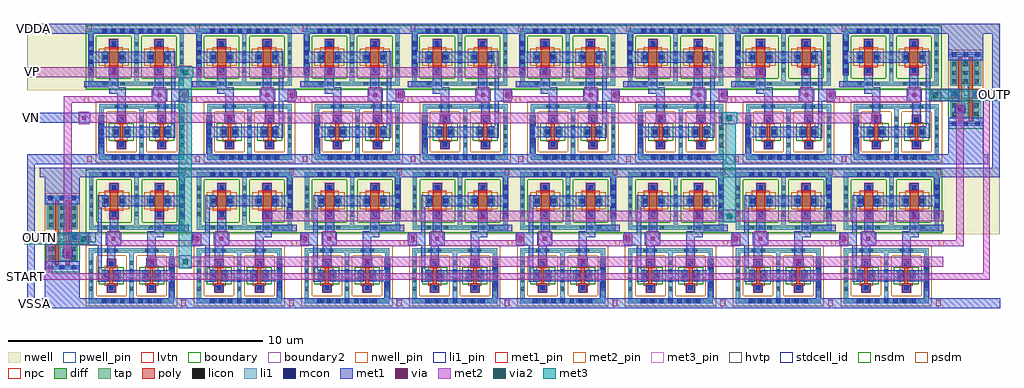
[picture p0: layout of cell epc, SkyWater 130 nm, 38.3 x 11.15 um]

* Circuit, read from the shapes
.subckt epc OUTN OUTP START VDDA VN VP VSSA
XM1 n1 START VSSA VSSA sky130_fd_pr__nfet_01v8 w=0.65 l=0.15
XM2 epc_delay_line_3/IN OUTN n1 VSSA sky130_fd_pr__nfet_01v8 w=0.65 l=0.15
XM3 n2 epc_delay_line_2/epc_delay_0/IN OUTN VSSA sky130_fd_pr__nfet_01v8_lvt w=0.42 l=0.15
XM4 n3 VP VSSA VSSA sky130_fd_pr__nfet_01v8_lvt w=0.42 l=0.15
XM5 VSSA VP n2 VSSA sky130_fd_pr__nfet_01v8_lvt w=0.42 l=0.15
XM6 epc_delay_line_3/epc_delay_6/IN epc_delay_line_3/IN n3 VSSA sky130_fd_pr__nfet_01v8_lvt w=0.42 l=0.15
XM7 n4 epc_delay_line_2/epc_delay_1/IN epc_delay_line_2/epc_delay_0/IN VSSA sky130_fd_pr__nfet_01v8_lvt w=0.42 l=0.15
XM8 n5 VN VSSA VSSA sky130_fd_pr__nfet_01v8_lvt w=0.42 l=0.15
XM9 VSSA VN n4 VSSA sky130_fd_pr__nfet_01v8_lvt w=0.42 l=0.15
XM10 epc_delay_line_3/epc_delay_5/IN epc_delay_line_3/epc_delay_6/IN n5 VSSA sky130_fd_pr__nfet_01v8_lvt w=0.42 l=0.15
XM11 n6 epc_delay_line_2/epc_delay_2/IN epc_delay_line_2/epc_delay_1/IN VSSA sky130_fd_pr__nfet_01v8_lvt w=0.42 l=0.15
XM12 n7 VP VSSA VSSA sky130_fd_pr__nfet_01v8_lvt w=0.42 l=0.15
XM13 VSSA VP n6 VSSA sky130_fd_pr__nfet_01v8_lvt w=0.42 l=0.15
XM14 epc_delay_line_3/epc_delay_4/IN epc_delay_line_3/epc_delay_5/IN n7 VSSA sky130_fd_pr__nfet_01v8_lvt w=0.42 l=0.15
XM15 n8 epc_delay_line_2/epc_delay_3/IN epc_delay_line_2/epc_delay_2/IN VSSA sky130_fd_pr__nfet_01v8_lvt w=0.42 l=0.15
XM16 n9 VN VSSA VSSA sky130_fd_pr__nfet_01v8_lvt w=0.42 l=0.15
XM17 VSSA VN n8 VSSA sky130_fd_pr__nfet_01v8_lvt w=0.42 l=0.15
XM18 epc_delay_line_3/epc_delay_3/IN epc_delay_line_3/epc_delay_4/IN n9 VSSA sky130_fd_pr__nfet_01v8_lvt w=0.42 l=0.15
XM19 n10 epc_delay_line_2/epc_delay_4/IN epc_delay_line_2/epc_delay_3/IN VSSA sky130_fd_pr__nfet_01v8_lvt w=0.42 l=0.15
XM20 n11 VP VSSA VSSA sky130_fd_pr__nfet_01v8_lvt w=0.42 l=0.15
XM21 VSSA VP n10 VSSA sky130_fd_pr__nfet_01v8_lvt w=0.42 l=0.15
XM22 epc_delay_line_3/epc_delay_2/IN epc_delay_line_3/epc_delay_3/IN n11 VSSA sky130_fd_pr__nfet_01v8_lvt w=0.42 l=0.15
XM23 n12 epc_delay_line_2/epc_delay_5/IN epc_delay_line_2/epc_delay_4/IN VSSA sky130_fd_pr__nfet_01v8_lvt w=0.42 l=0.15
XM24 n13 VN VSSA VSSA sky130_fd_pr__nfet_01v8_lvt w=0.42 l=0.15
XM25 VSSA VN n12 VSSA sky130_fd_pr__nfet_01v8_lvt w=0.42 l=0.15
XM26 epc_delay_line_3/epc_delay_1/IN epc_delay_line_3/epc_delay_2/IN n13 VSSA sky130_fd_pr__nfet_01v8_lvt w=0.42 l=0.15
XM27 n14 epc_delay_line_2/epc_delay_6/IN epc_delay_line_2/epc_delay_5/IN VSSA sky130_fd_pr__nfet_01v8_lvt w=0.42 l=0.15
XM28 n15 VP VSSA VSSA sky130_fd_pr__nfet_01v8_lvt w=0.42 l=0.15
XM29 VSSA VP n14 VSSA sky130_fd_pr__nfet_01v8_lvt w=0.42 l=0.15
XM30 epc_delay_line_3/epc_delay_0/IN epc_delay_line_3/epc_delay_1/IN n15 VSSA sky130_fd_pr__nfet_01v8_lvt w=0.42 l=0.15
XM31 n16 epc_delay_line_2/IN epc_delay_line_2/epc_delay_6/IN VSSA sky130_fd_pr__nfet_01v8_lvt w=0.42 l=0.15
XM32 n17 VN VSSA VSSA sky130_fd_pr__nfet_01v8_lvt w=0.42 l=0.15
XM33 VSSA VN n16 VSSA sky130_fd_pr__nfet_01v8_lvt w=0.42 l=0.15
XM34 OUTP epc_delay_line_3/epc_delay_0/IN n17 VSSA sky130_fd_pr__nfet_01v8_lvt w=0.42 l=0.15
XM35 n18 OUTP epc_delay_line_2/IN VSSA sky130_fd_pr__nfet_01v8 w=0.65 l=0.15
XM36 VSSA START n18 VSSA sky130_fd_pr__nfet_01v8 w=0.65 l=0.15
XM37 epc_delay_line_3/IN START VDDA VDDA sky130_fd_pr__pfet_01v8_hvt w=1 l=0.15
XM38 VDDA OUTN epc_delay_line_3/IN VDDA sky130_fd_pr__pfet_01v8_hvt w=1 l=0.15
XM39 n19 VP VDDA VDDA sky130_fd_pr__pfet_01v8_lvt w=0.42 l=0.35
XM40 n20 epc_delay_line_2/epc_delay_0/IN OUTN VDDA sky130_fd_pr__pfet_01v8_lvt w=0.42 l=0.35
XM41 epc_delay_line_3/epc_delay_6/IN epc_delay_line_3/IN n19 VDDA sky130_fd_pr__pfet_01v8_lvt w=0.42 l=0.35
XM42 VDDA VP n20 VDDA sky130_fd_pr__pfet_01v8_lvt w=0.42 l=0.35
XM43 n21 VN VDDA VDDA sky130_fd_pr__pfet_01v8_lvt w=0.42 l=0.35
XM44 n22 epc_delay_line_2/epc_delay_1/IN epc_delay_line_2/epc_delay_0/IN VDDA sky130_fd_pr__pfet_01v8_lvt w=0.42 l=0.35
XM45 epc_delay_line_3/epc_delay_5/IN epc_delay_line_3/epc_delay_6/IN n21 VDDA sky130_fd_pr__pfet_01v8_lvt w=0.42 l=0.35
XM46 VDDA VN n22 VDDA sky130_fd_pr__pfet_01v8_lvt w=0.42 l=0.35
XM47 n23 VP VDDA VDDA sky130_fd_pr__pfet_01v8_lvt w=0.42 l=0.35
XM48 n24 epc_delay_line_2/epc_delay_2/IN epc_delay_line_2/epc_delay_1/IN VDDA sky130_fd_pr__pfet_01v8_lvt w=0.42 l=0.35
XM49 epc_delay_line_3/epc_delay_4/IN epc_delay_line_3/epc_delay_5/IN n23 VDDA sky130_fd_pr__pfet_01v8_lvt w=0.42 l=0.35
XM50 VDDA VP n24 VDDA sky130_fd_pr__pfet_01v8_lvt w=0.42 l=0.35
XM51 n25 VN VDDA VDDA sky130_fd_pr__pfet_01v8_lvt w=0.42 l=0.35
XM52 n26 epc_delay_line_2/epc_delay_3/IN epc_delay_line_2/epc_delay_2/IN VDDA sky130_fd_pr__pfet_01v8_lvt w=0.42 l=0.35
XM53 epc_delay_line_3/epc_delay_3/IN epc_delay_line_3/epc_delay_4/IN n25 VDDA sky130_fd_pr__pfet_01v8_lvt w=0.42 l=0.35
XM54 VDDA VN n26 VDDA sky130_fd_pr__pfet_01v8_lvt w=0.42 l=0.35
XM55 n27 VP VDDA VDDA sky130_fd_pr__pfet_01v8_lvt w=0.42 l=0.35
XM56 n28 epc_delay_line_2/epc_delay_4/IN epc_delay_line_2/epc_delay_3/IN VDDA sky130_fd_pr__pfet_01v8_lvt w=0.42 l=0.35
XM57 epc_delay_line_3/epc_delay_2/IN epc_delay_line_3/epc_delay_3/IN n27 VDDA sky130_fd_pr__pfet_01v8_lvt w=0.42 l=0.35
XM58 VDDA VP n28 VDDA sky130_fd_pr__pfet_01v8_lvt w=0.42 l=0.35
XM59 n29 VN VDDA VDDA sky130_fd_pr__pfet_01v8_lvt w=0.42 l=0.35
XM60 n30 epc_delay_line_2/epc_delay_5/IN epc_delay_line_2/epc_delay_4/IN VDDA sky130_fd_pr__pfet_01v8_lvt w=0.42 l=0.35
XM61 epc_delay_line_3/epc_delay_1/IN epc_delay_line_3/epc_delay_2/IN n29 VDDA sky130_fd_pr__pfet_01v8_lvt w=0.42 l=0.35
XM62 VDDA VN n30 VDDA sky130_fd_pr__pfet_01v8_lvt w=0.42 l=0.35
XM63 n31 VP VDDA VDDA sky130_fd_pr__pfet_01v8_lvt w=0.42 l=0.35
XM64 n32 epc_delay_line_2/epc_delay_6/IN epc_delay_line_2/epc_delay_5/IN VDDA sky130_fd_pr__pfet_01v8_lvt w=0.42 l=0.35
XM65 epc_delay_line_3/epc_delay_0/IN epc_delay_line_3/epc_delay_1/IN n31 VDDA sky130_fd_pr__pfet_01v8_lvt w=0.42 l=0.35
XM66 VDDA VP n32 VDDA sky130_fd_pr__pfet_01v8_lvt w=0.42 l=0.35
XM67 n33 VN VDDA VDDA sky130_fd_pr__pfet_01v8_lvt w=0.42 l=0.35
XM68 n34 epc_delay_line_2/IN epc_delay_line_2/epc_delay_6/IN VDDA sky130_fd_pr__pfet_01v8_lvt w=0.42 l=0.35
XM69 OUTP epc_delay_line_3/epc_delay_0/IN n33 VDDA sky130_fd_pr__pfet_01v8_lvt w=0.42 l=0.35
XM70 VDDA VN n34 VDDA sky130_fd_pr__pfet_01v8_lvt w=0.42 l=0.35
XM71 epc_delay_line_2/IN OUTP VDDA VDDA sky130_fd_pr__pfet_01v8_hvt w=1 l=0.15
XM72 VDDA START epc_delay_line_2/IN VDDA sky130_fd_pr__pfet_01v8_hvt w=1 l=0.15
.ends

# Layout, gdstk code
from math import pi, radians
import gdstk
lib = gdstk.Library(unit=1e-6, precision=1e-09)
def R(c, l, rs):  # rectangles x0, y0, x1, y1
    for r in rs: c.add(gdstk.rectangle(r[:2], r[2:], *l))
def A(c, l, x, y, w, h, nx, ny, dx, dy):  # array of equal rectangles
    R(c, l, [(x+i*dx, y+j*dy, x+i*dx+w, y+j*dy+h) for i in range(nx) for j in range(ny)])
def P(c, l, *ps):  # polygons
    for p in ps: c.add(gdstk.Polygon(p, *l))
nwell_pin = (64, 16)
nwell = (64, 20)
diff = (65, 20)
tap = (65, 44)
poly = (66, 20)
licon = (66, 44)
li1_pin = (67, 16)
li1 = (67, 20)
mcon = (67, 44)
met1_pin = (68, 16)
met1 = (68, 20)
via = (68, 44)
met2_pin = (69, 16)
met2 = (69, 20)
via2 = (69, 44)
met3_pin = (70, 16)
met3 = (70, 20)
hvtp = (78, 44)
stdcell_id = (81, 4)
nsdm = (93, 44)
psdm = (94, 20)
npc = (95, 20)
pwell_pin = (122, 16)
lvtn = (125, 44)
boundary = (235, 4)
boundary2 = (236, 0)

sky130_fd_sc_hd__nand2_1 = lib.new_cell('sky130_fd_sc_hd__nand2_1')
R(sky130_fd_sc_hd__nand2_1, nwell_pin, [(0.14,2.635,0.31,2.805)])
R(sky130_fd_sc_hd__nand2_1, nwell, [(-0.19,1.305,1.57,2.91)])
R(sky130_fd_sc_hd__nand2_1, diff, [(0.155,0.235,1.245,0.885), (0.155,1.485,1.245,2.485)])
P(sky130_fd_sc_hd__nand2_1, poly, [(1.275,1.325),(0.985,1.325),(0.985,2.615),(0.835,2.615),(0.835,0.105),(0.985,0.105),(0.985,0.995),(1.275,0.995)],
  [(0.565,2.615),(0.415,2.615),(0.415,1.325),(0.105,1.325),(0.105,0.995),(0.415,0.995),(0.415,0.105),(0.565,0.105)])
A(sky130_fd_sc_hd__nand2_1, licon, 0.195, 1.575, 0.17, 0.17, 3, 3, 0.42, 0.34)
R(sky130_fd_sc_hd__nand2_1, licon, [(0.195,0.295,0.365,0.465), (1.035,0.295,1.205,0.465), (0.195,0.635,0.365,0.805), (1.035,0.635,1.205,0.805), (0.18,1.075,0.35,1.245), (1.02,1.075,1.19,1.245)])
A(sky130_fd_sc_hd__nand2_1, li1_pin, 0.14, 1.105, 0.17, 0.17, 3, 1, 0.46, 0)
R(sky130_fd_sc_hd__nand2_1, li1_pin, [(0.6,0.425,0.77,0.595), (0.6,0.765,0.77,0.935)])
R(sky130_fd_sc_hd__nand2_1, li1, [(0.095,1.055,0.43,1.325), (0.94,1.075,1.275,1.325)])
P(sky130_fd_sc_hd__nand2_1, li1, [(1.38,0.085),(0.395,0.085),(0.395,0.885),(0.085,0.885),(0.085,0.085),(0,0.085),(0,-0.085),(1.38,-0.085)],
  [(1.38,2.805),(0,2.805),(0,2.635),(0.085,2.635),(0.085,1.495),(0.365,1.495),(0.365,2.635),(1.035,2.635),(1.035,1.495),(1.295,1.495),(1.295,2.635),(1.38,2.635)],
  [(1.295,0.885),(0.77,0.885),(0.77,1.485),(0.865,1.485),(0.865,2.465),(0.535,2.465),(0.535,1.485),(0.6,1.485),(0.6,0.255),(1.295,0.255)])
A(sky130_fd_sc_hd__nand2_1, mcon, 0.145, -0.085, 0.17, 0.17, 3, 2, 0.46, 2.72)
R(sky130_fd_sc_hd__nand2_1, met1_pin, [(0.14,-0.085,0.31,0.085), (0.14,2.635,0.31,2.805)])
R(sky130_fd_sc_hd__nand2_1, hvtp, [(0,1.25,1.38,2.72)])
R(sky130_fd_sc_hd__nand2_1, stdcell_id, [(0,0,1.38,2.72)])
R(sky130_fd_sc_hd__nand2_1, nsdm, [(0,-0.19,1.38,1.015)])
R(sky130_fd_sc_hd__nand2_1, psdm, [(0,1.355,1.38,2.91)])
R(sky130_fd_sc_hd__nand2_1, npc, [(0,0.975,1.38,1.345)])
R(sky130_fd_sc_hd__nand2_1, pwell_pin, [(0.14,-0.085,0.31,0.085)])
R(sky130_fd_sc_hd__nand2_1, boundary2, [(0,0,1.38,2.72)])
sky130_fd_sc_hd__nand2_1.add(gdstk.FlexPath([(0,2.72),(1.38,2.72)], 0.48, ends="flush", simple_path=True, layer=68, datatype=20))  # met1
sky130_fd_sc_hd__nand2_1.add(gdstk.FlexPath([(0,0),(1.38,0)], 0.48, ends="flush", simple_path=True, layer=68, datatype=20))  # met1
sky130_fd_sc_hd__nand2_1.add(gdstk.Label('Y', (0.685,0.51), layer=67, texttype=5))
sky130_fd_sc_hd__nand2_1.add(gdstk.Label('Y', (0.685,0.85), layer=67, texttype=5))
sky130_fd_sc_hd__nand2_1.add(gdstk.Label('Y', (0.685,1.19), layer=67, texttype=5))
sky130_fd_sc_hd__nand2_1.add(gdstk.Label('B', (0.225,1.19), layer=67, texttype=5))
sky130_fd_sc_hd__nand2_1.add(gdstk.Label('A', (1.145,1.19), layer=67, texttype=5))
sky130_fd_sc_hd__nand2_1.add(gdstk.Label('VPB', (0.225,2.72), layer=64, texttype=5))
sky130_fd_sc_hd__nand2_1.add(gdstk.Label('VNB', (0.225,0), layer=64, texttype=59))
sky130_fd_sc_hd__nand2_1.add(gdstk.Label('VGND', (0.23,0), layer=68, texttype=5))
sky130_fd_sc_hd__nand2_1.add(gdstk.Label('VPWR', (0.225,2.72), layer=68, texttype=5))
sky130_fd_sc_hd__nand2_1.add(gdstk.Label('nand2_1', (0,0), layer=83, texttype=44))

sky130_fd_pr__nfet_01v8_ = lib.new_cell('sky130_fd_pr__nfet_01v8_lvt_BK97Z7')
R(sky130_fd_pr__nfet_01v8_, diff, [(-0.365,-0.21,0.365,0.21)])
R(sky130_fd_pr__nfet_01v8_, tap, [(-0.875,-1.08,0.875,-0.91), (-0.875,-0.91,-0.705,0.91), (0.705,-0.91,0.875,0.91), (-0.875,0.91,0.875,1.08)])
R(sky130_fd_pr__nfet_01v8_, poly, [(-0.165,-0.65,0.165,-0.32), (-0.075,-0.32,0.075,0.32), (-0.165,0.32,0.165,0.65)])
A(sky130_fd_pr__nfet_01v8_, licon, -0.875, -0.595, 0.17, 0.17, 1, 4, 0, 0.34)
A(sky130_fd_pr__nfet_01v8_, licon, 0.705, -0.595, 0.17, 0.17, 1, 4, 0, 0.34)
R(sky130_fd_pr__nfet_01v8_, licon, [(-0.255,-1.08,-0.085,-0.91), (0.085,-1.08,0.255,-0.91), (-0.085,-0.57,0.085,-0.4), (-0.305,-0.085,-0.135,0.085), (0.135,-0.085,0.305,0.085), (-0.085,0.4,0.085,0.57), (-0.255,0.91,-0.085,1.08), (0.085,0.91,0.255,1.08)])
R(sky130_fd_pr__nfet_01v8_, li1, [(-0.875,-1.08,0.875,-0.91), (-0.875,-0.91,-0.705,0.91), (0.705,-0.91,0.875,0.91), (-0.165,-0.57,0.165,-0.4), (-0.305,-0.23,-0.135,0.23), (0.135,-0.23,0.305,0.23), (-0.165,0.4,0.165,0.57), (-0.875,0.91,0.875,1.08)])
R(sky130_fd_pr__nfet_01v8_, mcon, [(-0.085,-0.57,0.085,-0.4), (-0.305,-0.085,-0.135,0.085), (0.135,-0.085,0.305,0.085), (-0.085,0.4,0.085,0.57)])
R(sky130_fd_pr__nfet_01v8_, met1, [(-0.145,-0.6,0.145,-0.37), (-0.335,-0.21,-0.105,0.21), (0.105,-0.21,0.335,0.21), (-0.145,0.37,0.145,0.6)])
R(sky130_fd_pr__nfet_01v8_, nsdm, [(-0.49,-0.335,0.49,0.335)])
R(sky130_fd_pr__nfet_01v8_, psdm, [(-1,-1.205,1,-0.785), (-1,-0.785,-0.58,0.785), (0.58,-0.785,1,0.785), (-1,0.785,1,1.205)])
R(sky130_fd_pr__nfet_01v8_, npc, [(-0.185,-0.67,0.185,-0.3), (-0.185,0.3,0.185,0.67)])
R(sky130_fd_pr__nfet_01v8_, lvtn, [(-0.255,-0.39,0.255,0.39)])
R(sky130_fd_pr__nfet_01v8_, boundary, [(-0.79,-0.995,0.79,0.995)])

sky130_fd_pr__pfet_01v8_ = lib.new_cell('sky130_fd_pr__pfet_01v8_lvt_A33RKA')
R(sky130_fd_pr__pfet_01v8_, nwell, [(-1.155,-1.305,1.155,1.305)])
R(sky130_fd_pr__pfet_01v8_, diff, [(-0.465,-0.21,0.465,0.21)])
R(sky130_fd_pr__pfet_01v8_, tap, [(-0.975,-1.125,0.975,-0.955), (-0.975,-0.955,-0.805,0.955), (0.805,-0.955,0.975,0.955), (-0.975,0.955,0.975,1.125)])
R(sky130_fd_pr__pfet_01v8_, poly, [(-0.175,-0.695,0.175,0.695)])
A(sky130_fd_pr__pfet_01v8_, licon, -0.425, -1.125, 0.17, 0.17, 3, 2, 0.34, 2.08)
A(sky130_fd_pr__pfet_01v8_, licon, -0.975, -0.595, 0.17, 0.17, 1, 4, 0, 0.34)
A(sky130_fd_pr__pfet_01v8_, licon, 0.805, -0.595, 0.17, 0.17, 1, 4, 0, 0.34)
R(sky130_fd_pr__pfet_01v8_, licon, [(-0.085,-0.615,0.085,-0.445), (-0.405,-0.085,-0.235,0.085), (0.235,-0.085,0.405,0.085), (-0.085,0.445,0.085,0.615)])
R(sky130_fd_pr__pfet_01v8_, li1, [(-0.975,-1.125,0.975,-0.955), (-0.975,-0.955,-0.805,0.955), (0.805,-0.955,0.975,0.955), (-0.175,-0.615,0.175,-0.445), (-0.405,-0.23,-0.235,0.23), (0.235,-0.23,0.405,0.23), (-0.175,0.445,0.175,0.615), (-0.975,0.955,0.975,1.125)])
R(sky130_fd_pr__pfet_01v8_, mcon, [(-0.085,-0.615,0.085,-0.445), (-0.405,-0.085,-0.235,0.085), (0.235,-0.085,0.405,0.085), (-0.085,0.445,0.085,0.615)])
R(sky130_fd_pr__pfet_01v8_, met1, [(-0.155,-0.645,0.155,-0.415), (-0.435,-0.21,-0.205,0.21), (0.205,-0.21,0.435,0.21), (-0.155,0.415,0.155,0.645)])
R(sky130_fd_pr__pfet_01v8_, nsdm, [(-1.1,-1.25,1.1,-0.83), (-1.1,-0.83,-0.68,0.83), (0.68,-0.83,1.1,0.83), (-1.1,0.83,1.1,1.25)])
R(sky130_fd_pr__pfet_01v8_, psdm, [(-0.59,-0.335,0.59,0.335)])
R(sky130_fd_pr__pfet_01v8_, npc, [(-0.185,-0.715,0.185,-0.345), (-0.185,0.345,0.185,0.715)])
R(sky130_fd_pr__pfet_01v8_, lvtn, [(-0.355,-0.39,0.355,0.39)])
R(sky130_fd_pr__pfet_01v8_, boundary, [(-0.89,-1.04,0.89,1.04)])

epc_delay = lib.new_cell('epc_delay')
R(epc_delay, li1, [(0.8,-2.68,3.17,-2.51), (0.32,-2.2,0.49,-1), (0.89,-1.75,1.06,-1.45), (1.33,-1.75,1.5,-1.45), (2.47,-1.75,2.64,-1.45), (2.91,-1.75,3.08,-1.45), (-0.085,0.69,0.085,1.98), (0.485,1.185,0.655,1.485), (1.125,1.185,1.295,1.485), (2.265,1.185,2.435,1.485), (2.905,1.185,3.075,1.485), (0.395,2.29,3.165,2.46)])
A(epc_delay, mcon, 0.82, -2.68, 0.17, 0.17, 7, 1, 0.36, 0)
A(epc_delay, mcon, 0.32, -2.045, 0.17, 0.17, 1, 3, 0, 0.36)
A(epc_delay, mcon, -0.085, 0.71, 0.17, 0.17, 1, 4, 0, 0.36)
A(epc_delay, mcon, 0.435, 2.29, 0.17, 0.17, 8, 1, 0.36, 0)
R(epc_delay, mcon, [(0.89,-1.685,1.06,-1.515), (1.33,-1.685,1.5,-1.515), (2.47,-1.685,2.64,-1.515), (2.91,-1.685,3.08,-1.515), (0.485,1.25,0.655,1.42), (1.125,1.25,1.295,1.42), (2.265,1.25,2.435,1.42), (2.905,1.25,3.075,1.42)])
R(epc_delay, met1_pin, [(-0.155,-2.795,0.025,-2.545), (3.585,-0.28,3.765,-0.03), (-0.265,0.15,-0.085,0.4), (-0.155,2.34,0.025,2.59)])
R(epc_delay, met1, [(-0.26,-2.86,3.83,-2.48), (0.29,-2.48,0.52,-1.81), (1.03,-2.25,1.36,-1.97), (2.61,-2.25,2.94,-1.97), (2.91,-1.83,3.31,-1.81), (0.29,-1.81,1.09,-1.39), (1.3,-1.81,2.67,-1.39), (2.88,-1.81,3.31,-1.39), (0.29,-1.39,0.52,-0.94), (2.91,-1.39,3.31,-1.37), (3.14,-1.37,3.31,-0.4), (1.03,-1.23,1.36,-0.1), (2.61,-1.23,2.94,-0.4), (2.385,-0.4,2.985,0.1), (3.14,-0.4,3.805,0.1), (0.715,-0.1,1.36,0.15), (2.495,0.1,2.845,0.92), (3.14,0.1,3.31,1.105), (-0.265,0.15,1.065,0.4), (0.715,0.4,1.065,0.92), (-0.115,0.63,0.115,1.125), (2.905,1.105,3.31,1.125), (-0.115,1.125,0.685,1.545), (1.095,1.125,2.465,1.545), (2.875,1.125,3.31,1.545), (-0.115,1.545,0.115,2.26), (2.905,1.545,3.31,1.565), (0.715,1.75,1.065,2.03), (2.495,1.75,2.845,2.03), (-0.265,2.26,3.825,2.64)])
R(epc_delay, via, [(2.61,-0.225,2.76,-0.075)])
R(epc_delay, met2_pin, [(-0.265,-0.45,-0.085,-0.2)])
R(epc_delay, met2, [(-0.265,-0.45,2.935,-0.2), (2.435,-0.2,2.935,0.15)])
epc_delay.add(gdstk.Reference(sky130_fd_pr__nfet_01v8_, (1.195,-1.6)))
epc_delay.add(gdstk.Reference(sky130_fd_pr__nfet_01v8_, (2.775,-1.6)))
epc_delay.add(gdstk.Reference(sky130_fd_pr__pfet_01v8_, (2.67,1.335)))
epc_delay.add(gdstk.Reference(sky130_fd_pr__pfet_01v8_, (0.89,1.335)))
epc_delay.add(gdstk.Label('VDD', (-0.065,2.465), layer=68, texttype=5))
epc_delay.add(gdstk.Label('VSS', (-0.065,-2.67), layer=68, texttype=5))
epc_delay.add(gdstk.Label('VIN', (-0.175,0.275), layer=68, texttype=5))
epc_delay.add(gdstk.Label('IN', (-0.175,-0.325), layer=69, texttype=5))
epc_delay.add(gdstk.Label('OUT', (3.675,-0.155), layer=68, texttype=5))

epc_delay_line = lib.new_cell('epc_delay_line')
R(epc_delay_line, nwell, [(0.265,3.95,33.97,6.56)])
R(epc_delay_line, met1_pin, [(0.42,1.22,0.46,1.24), (33.75,3.78,33.79,3.8), (0.43,6.37,0.47,6.39)])
A(epc_delay_line, met1, 5.76, 2.72, 0.4, 0.3, 4, 1, 8.46, 0)
A(epc_delay_line, met1, 20.885, 3.62, 0.4, 0.3, 3, 1, 4.23, 0)
A(epc_delay_line, met1, 9.685, 4.51, 0.4, 0.3, 3, 1, 8.46, 0)
R(epc_delay_line, met1, [(0.27,1.06,33.975,1.44), (33.455,3.52,33.95,4.02), (8.195,3.615,8.595,3.915), (3.96,3.62,4.36,3.92), (12.43,3.62,12.83,3.92), (16.66,3.62,17.06,3.92), (1.22,4.51,1.62,4.81), (0.265,6.18,33.97,6.56)])
A(epc_delay_line, via, 5.885, 2.795, 0.15, 0.15, 4, 1, 8.46, 0)
A(epc_delay_line, via, 21.01, 3.695, 0.15, 0.15, 3, 1, 4.23, 0)
A(epc_delay_line, via, 9.81, 4.585, 0.15, 0.15, 3, 1, 8.46, 0)
R(epc_delay_line, via, [(8.32,3.69,8.47,3.84), (4.085,3.695,4.235,3.845), (12.555,3.695,12.705,3.845), (16.785,3.695,16.935,3.845), (1.345,4.585,1.495,4.735)])
R(epc_delay_line, met2_pin, [(0.4,2.86,0.44,2.88), (0.38,3.58,0.42,3.6), (0.43,4.64,0.47,4.66)])
A(epc_delay_line, met2, 20.935, 3.47, 0.78, 0.25, 3, 1, 4.23, 0)
A(epc_delay_line, met2, 20.935, 3.72, 0.3, 0.25, 3, 1, 4.23, 0)
R(epc_delay_line, met2, [(5.81,2.67,31.49,2.675), (0.27,2.675,31.49,3.07), (0.265,3.47,0.555,3.72), (4.01,3.47,4.82,3.72), (8.245,3.47,9.01,3.72), (12.48,3.47,13.26,3.72), (16.71,3.47,17.49,3.72), (4.01,3.72,4.31,3.97), (8.245,3.72,8.545,3.965), (12.48,3.72,12.78,3.97), (16.71,3.72,17.01,3.97), (0.265,4.46,26.955,4.86)])
A(epc_delay_line, nsdm, 8.535, 4.005, 0.25, 2.5, 6, 1, 4.23, 0)
R(epc_delay_line, nsdm, [(4.3,4.005,4.555,6.505)])
epc_delay_line.add(gdstk.Reference(epc_delay, (30.145,3.92)))
epc_delay_line.add(gdstk.Reference(epc_delay, (25.915,3.92)))
epc_delay_line.add(gdstk.Reference(epc_delay, (21.685,3.92)))
epc_delay_line.add(gdstk.Reference(epc_delay, (17.455,3.92)))
epc_delay_line.add(gdstk.Reference(epc_delay, (13.225,3.92)))
epc_delay_line.add(gdstk.Reference(epc_delay, (8.995,3.92)))
epc_delay_line.add(gdstk.Reference(epc_delay, (4.765,3.92)))
epc_delay_line.add(gdstk.Reference(epc_delay, (0.53,3.92)))
epc_delay_line.add(gdstk.Label('VDD', (0.45,6.38), layer=68, texttype=5))
epc_delay_line.add(gdstk.Label('VP', (0.45,4.65), layer=69, texttype=5))
epc_delay_line.add(gdstk.Label('IN', (0.4,3.59), layer=69, texttype=5))
epc_delay_line.add(gdstk.Label('VN', (0.42,2.87), layer=69, texttype=5))
epc_delay_line.add(gdstk.Label('VSS', (0.44,1.23), layer=68, texttype=5))
epc_delay_line.add(gdstk.Label('OUT', (33.77,3.79), layer=68, texttype=5))

epc = lib.new_cell('epc')
R(epc, nwell, [(37.12,7.83,39.33,10.44), (1.175,7.84,3.5,9.395), (1.175,9.395,3.55,10.44), (1.175,10.44,3.5,10.445), (1.17,13.475,3.495,16.08), (37.11,13.475,39.335,16.08)])
R(epc, li1, [(2.66,6.98,2.85,7.17), (2.02,7.64,2.19,7.81), (2.92,7.64,3.09,7.81), (37.68,12.64,37.86,12.81), (38.32,13.23,38.51,13.42), (37.49,13.24,37.67,13.42)])
R(epc, mcon, [(2.67,6.99,2.84,7.16), (2.02,7.64,2.19,7.81), (2.92,7.64,3.09,7.81), (37.685,12.64,37.855,12.81), (38.33,13.24,38.5,13.41), (37.495,13.245,37.665,13.415)])
R(epc, met1_pin, [(1.39,5.05,1.55,5.2), (1.28,12.33,1.405,12.465), (1.34,15.82,1.5,15.97)])
R(epc, met1, [(1.17,4.93,39.335,5.32), (1.17,5.32,1.47,10.58), (1.845,5.32,3.225,6.375), (2.555,6.93,2.955,7.23), (2.785,7.4,3.93,7.9), (1.94,7.55,2.26,7.85), (1.95,7.85,2.26,7.88), (1.845,9.01,3.225,10.06), (1.655,10.06,4.655,10.44), (37.05,10.06,39.33,10.44), (39.03,10.44,39.33,15.7), (1.17,10.58,3.425,10.96), (37.075,10.58,38.865,10.96), (37.3,10.96,38.68,12.065), (1.17,12.195,3.645,12.59), (37.565,12.565,37.965,12.865), (36.56,13.04,37.74,13.54), (38.28,13.17,38.71,13.48), (38.29,13.48,38.61,13.52), (37.3,14.645,38.68,15.7), (1.165,15.7,39.33,16.08)])
R(epc, via, [(2.68,7.005,2.83,7.155), (3.295,7.58,3.445,7.73), (2.025,7.645,2.175,7.795), (3.32,12.315,3.47,12.465), (37.69,12.64,37.84,12.79), (36.74,13.225,36.89,13.375), (38.375,13.285,38.525,13.435)])
R(epc, met2_pin, [(1.295,14.13,1.42,14.265)])
R(epc, met2, [(1.08,6.04,38.93,6.3), (1.89,6.3,2.15,7.55), (38.67,6.3,38.93,13.17), (7.17,6.5,7.57,7), (2.605,6.88,2.905,12.99), (37.115,7.35,37.915,7.6), (3.16,7.4,3.56,7.9), (1.89,7.55,2.26,7.86), (37.615,7.6,37.915,12.915), (1.95,7.86,2.26,7.88), (28.52,8.29,28.92,8.79), (28.46,12.14,28.97,12.62), (3.195,12.145,3.595,12.64), (2.605,12.99,3.43,13.24), (36.61,13.04,37.01,13.54), (38.28,13.17,38.93,13.52), (7.12,13.94,7.63,14.43), (1.17,13.985,3.915,14.38)])
R(epc, via2, [(7.27,6.65,7.47,6.85), (3.26,7.55,3.46,7.75), (28.62,8.44,28.82,8.64), (28.615,12.29,28.815,12.49), (36.71,13.19,36.91,13.39), (7.275,14.085,7.475,14.285)])
R(epc, met3_pin, [(1.56,7.62,1.72,7.77), (39.075,13.23,39.2,13.365)])
R(epc, met3, [(7.12,6.5,7.63,13.965), (3.11,7.425,3.61,7.43), (1.04,7.43,3.61,7.88), (28.46,8.305,28.97,12.165), (28.41,12.165,29.02,12.615), (28.46,12.615,28.97,12.62), (36.56,13.06,39.335,13.51), (36.56,13.51,37.06,13.515), (7.07,13.965,7.68,14.405)])
R(epc, nsdm, [(3.215,7.52,3.85,7.54), (2.835,7.54,3.85,7.885), (2.835,7.885,3.47,7.89), (3.215,7.89,3.47,7.905), (36.675,13.16,37.31,13.175), (36.675,13.175,37.69,13.525), (37.055,13.525,37.31,13.54)])
epc.add(gdstk.Reference(sky130_fd_sc_hd__nand2_1, (38.68,12.165), rotation=pi, x_reflection=True))
epc.add(gdstk.Reference(sky130_fd_sc_hd__nand2_1, (1.845,6.53)))
epc.add(gdstk.Reference(epc_delay_line, (37.385,3.88), rotation=pi, x_reflection=True))
epc.add(gdstk.Reference(epc_delay_line, (3.14,9.52)))
epc.add(gdstk.Label('VDDA', (1.42,15.895), layer=68, texttype=5))
epc.add(gdstk.Label('OUTN', (1.64,7.695), layer=70, texttype=5))
epc.add(gdstk.Label('VSSA', (1.47,5.125), layer=68, texttype=5))
epc.add(gdstk.Label('VP', (1.357,14.197), layer=69, texttype=5))
epc.add(gdstk.Label('VN', (1.342,12.397), layer=68, texttype=5))
epc.add(gdstk.Label('OUTP', (39.137,13.297), layer=70, texttype=5))
epc.add(gdstk.Label('START', (1.09,6.17), layer=69, texttype=5))

lib.write_gds('epc.gds')
